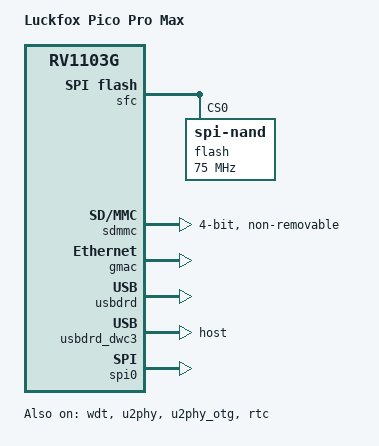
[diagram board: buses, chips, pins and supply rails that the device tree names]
// SPDX-License-Identifier: (GPL-2.0+ OR MIT)
/*
 * Copyright (c) 2022 Rockchip Electronics Co., Ltd.
 */

/dts-v1/;

#include "rv1106.dtsi"
#include "rv1106-evb.dtsi"
#include "rv1106-luckfox-pico-pro-max-ipc.dtsi"

/ {
	model = "Luckfox Pico Pro Max";
	compatible = "rockchip,rv1103g-38x38-ipc-v10", "rockchip,rv1106g3";
};

/**********CRU**********/
//&cru {
//	assigned-clocks =
//		<&cru PLL_GPLL>, <&cru PLL_CPLL>,
//		<&cru ARMCLK>,
//		<&cru ACLK_PERI_ROOT>, <&cru HCLK_PERI_ROOT>,
//		<&cru PCLK_PERI_ROOT>, <&cru ACLK_BUS_ROOT>,
//		<&cru PCLK_TOP_ROOT>, <&cru PCLK_PMU_ROOT>,
//		<&cru HCLK_PMU_ROOT>, <&cru CLK_500M_SRC>;
//	assigned-clock-rates =
//		<1188000000>, <700000000>,
//		<1104000000>,
//		<400000000>, <200000000>,
//		<100000000>, <300000000>,
//		<100000000>, <100000000>,
//		<200000000>, <700000000>;
//};

/**********NPU**********/
//&npu {
//	assigned-clock-rates = <700000000>;
//};

/**********FLASH**********/
&sfc {
	status = "okay";
	flash@0 {
		compatible = "spi-nand";
		reg = <0>;
		spi-max-frequency = <75000000>;
		spi-rx-bus-width = <4>;
		spi-tx-bus-width = <1>;
	};
};

/**********SDMMC**********/
&sdmmc {
	max-freqency = <50000000>;
	no-mmc;
	bus-width = <4>;
	cap-mmc-highspeed;
	cap-sd-highspeed;
	disable-wp;

	//sdio
	cap-sdio-irq;
	non-removable;
	no-1-8-v;
	supports-sdio;

	pinctrl-names = "default";
	pinctrl-0 = <&sdmmc0_clk &sdmmc0_cmd &sdmmc0_det &sdmmc0_bus4>;
	status = "okay";
};

/* ESP-Hosted WiFi moved from SDIO to SPI (easier hand-soldering, ~16 Mbps is
 * plenty for this host). See the &spi0 node below and docs/esp-hosted-spi-plan.md. */

/**********WATCHDOG**********/
/* dw-wdt (snps,dw-wdt @ff5a0000): on expiry the CRU issues a global soft reset
 * (== the RESET button). Fed at boot by /sbin/watchdog (busybox). Disabled in
 * the stock DT; enable so a hung kernel/userspace self-resets. */
&wdt {
	status = "okay";
};

/**********ETH**********/
&gmac {
	status = "okay";
};

/**********USB**********/
&u2phy {
	status = "okay";
};

&u2phy_otg {
	rockchip,dis-u2-susphy;
	status = "okay";
};

&usbdrd {
	status = "okay";
};

&usbdrd_dwc3 {
	status = "okay";
	/* HOST by default: brings up the dwc3 xhci so USB peripherals (e.g. the
	 * rtl8821cu/88x2bu WiFi dongle) enumerate. This disables the gadget path
	 * (no usb0 RNDIS). For the gadget build see the peripheral DTS variant
	 * (rv1106g-luckfox-pico-pro-max-peripheral.dts). NOTE: role is NOT
	 * runtime-switchable under a single-role dr_mode — dwc3 only provisions the
	 * one stack at probe, so the PHY otg_mode / dwc3 debugfs `mode` levers are
	 * no-ops. Switching host<->gadget = reflash the other DTS variant. */
	dr_mode = "host";
};

/**********SPI (ESP-Hosted-NG WiFi co-processor) — see docs/esp-hosted-spi-plan.md**********/
/* spi0 = bus 0 (alias in rv1106.dtsi). The esp32_spi module registers an
 * "esp_spi" device on bus0/CS0 (SPI MODE 2) at modprobe — no DT child needed,
 * it's added programmatically via spi_new_device(). HANDSHAKE/DATA_READY are
 * GPIO #defines in host/spi/esp_spi.h (56/57 = GPIO1_D0/D1).
 * m0 mux: CLK=GPIO1_C1(pin14) MOSI=GPIO1_C2(pin15) MISO=GPIO1_C3(pin16)
 *         CS0=GPIO1_C0(pin12).  HS=pin19(gpio56)  DR=pin20(gpio57).
 * No ESP soldered? Leave the module out of insmod (it isn't auto-loaded) — an
 * enabled-but-idle SPI master costs nothing at boot. */
&spi0 {
	status = "okay";
	pinctrl-names = "default";
	pinctrl-0 = <&spi0m0_pins &spi0m0_cs0>;
};

/**********I2C**********/
/* I2C3_M1 */
&i2c3 {
	status = "disabled";
	clock-frequency = <100000>;
};

/* I2C1_M1 */
&i2c1 {
	status = "disabled";
	clock-frequency = <100000>;
};


/**********UART**********/
/* UART3_M1 */
&uart3 {
	status = "disabled";
};

/* UART4_M1 */
&uart4 {
	status = "disabled";
};

/**********RTC**********/
&rtc {
	status = "okay";
};
